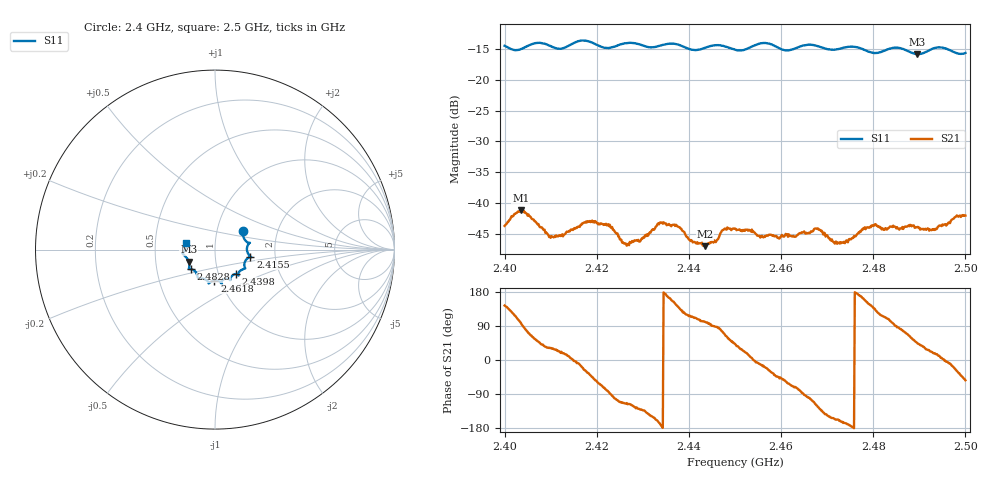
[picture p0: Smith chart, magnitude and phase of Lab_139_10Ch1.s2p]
# Hz S RI R 50
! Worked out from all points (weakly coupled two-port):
!   601 points, 2.4 GHz to 2.5 GHz, reference 50 ohm
!   highest |S21| = -41.09 dB at 2.4035 GHz (marker M1); lowest = -46.9 dB at 2.4435 GHz (marker M2)
!   lowest |S11| = -15.9 dB at 2.4895 GHz (marker M3), VSWR 1.38, Z = 37 - j5.04 ohm
!   |S11| at or under -10 dB: start of sweep to end of sweep
!   S12 and S22 are empty: the file has one direction only
!   S11 on the Smith chart (normalised r, x): 2.4 GHz: 1.33, +0.29; 2.4155 GHz: 1.49, -0.12; 2.4398 GHz: 1.21, -0.34; 2.4618 GHz: 0.94, -0.33; 2.4828 GHz: 0.75, -0.17; 2.5 GHz: 0.72, +0.06
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2.4e9  0.1554 0.1058  -0.0053 0.00388  0 0  0 0
2.4035e9  0.1687 0.0513  -0.00134 0.00872  0 0  0 0
2.410167e9  0.1835 0.0256  0.00466 0.00278  0 0  0 0
2.4155e9  0.1977 -0.0388  0.00633 -0.000445  0 0  0 0
2.416667e9  0.2027 -0.0422  0.00638 -0.00201  0 0  0 0
2.422333e9  0.1665 -0.0684  0.00105 -0.00656  0 0  0 0
2.4265e9  0.1684 -0.1033  -0.00182 -0.00416  0 0  0 0
2.433333e9  0.1292 -0.1343  -0.00657 -0.00201  0 0  0 0
2.437667e9  0.1298 -0.1413  -0.00499 0.00414  0 0  0 0
2.439833e9  0.1151 -0.1359  -0.00241 0.0046  0 0  0 0
2.4435e9  0.086 -0.159  -0.00085 0.00442  0 0  0 0
2.45e9  0.0651 -0.1618  0.00461 0.00422  0 0  0 0
2.456333e9  0.039 -0.194  0.00512 -0.00167  0 0  0 0
2.461833e9  -0.00335 -0.1729  0.00239 -0.00488  0 0  0 0
2.466667e9  -0.0352 -0.1879  -0.00166 -0.00569  0 0  0 0
2.472667e9  -0.0775 -0.1598  -0.00447 -0.00154  0 0  0 0
2.480167e9  -0.1108 -0.1212  -0.00469 0.00462  0 0  0 0
2.482833e9  -0.1357 -0.1088  -0.00216 0.00576  0 0  0 0
2.483333e9  -0.1396 -0.1086  -0.00196 0.00599  0 0  0 0
2.4895e9  -0.1462 -0.0665  0.00449 0.00459  0 0  0 0
2.494333e9  -0.1812 -0.0215  0.00648 0.00127  0 0  0 0
2.5e9  -0.1595 0.0392  0.00472 -0.0064  0 0  0 0
